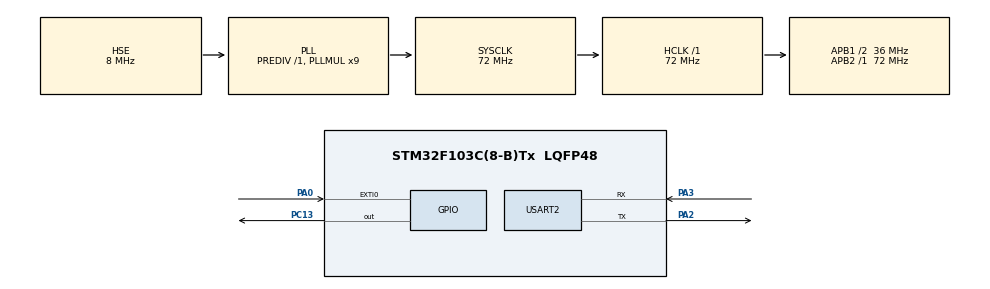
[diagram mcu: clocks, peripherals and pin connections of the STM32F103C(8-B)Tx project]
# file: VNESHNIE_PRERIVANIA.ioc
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Dma.Request0=USART2_TX
Dma.USART2_TX.0.Direction=DMA_MEMORY_TO_PERIPH
Dma.USART2_TX.0.Instance=DMA1_Channel7
Dma.USART2_TX.0.MemDataAlignment=DMA_MDATAALIGN_BYTE
Dma.USART2_TX.0.MemInc=DMA_MINC_ENABLE
Dma.USART2_TX.0.Mode=DMA_NORMAL
Dma.USART2_TX.0.PeriphDataAlignment=DMA_PDATAALIGN_BYTE
Dma.USART2_TX.0.PeriphInc=DMA_PINC_DISABLE
Dma.USART2_TX.0.Priority=DMA_PRIORITY_LOW
Mcu.Family=STM32F1
Mcu.Name=STM32F103C(8-B)Tx
Mcu.Package=LQFP48
NVIC.DMA1_Channel7_IRQn=true\:0\:0\:false\:false\:true\:false\:true\:true
NVIC.EXTI0_IRQn=true\:0\:0\:false\:false\:true\:true\:true\:true
NVIC.PriorityGroup=NVIC_PRIORITYGROUP_4
NVIC.USART2_IRQn=true\:0\:0\:false\:false\:true\:true\:true\:true
PA0-WKUP.GPIO_ModeDefaultEXTI=GPIO_MODE_IT_FALLING
PA0-WKUP.GPIO_PuPd=GPIO_PULLUP
PA0-WKUP.Signal=GPXTI0
PA13.Mode=Serial_Wire
PA13.Signal=SYS_JTMS-SWDIO
PA14.Mode=Serial_Wire
PA14.Signal=SYS_JTCK-SWCLK
PA2.Mode=Asynchronous
PA2.Signal=USART2_TX
PA3.Mode=Asynchronous
PA3.Signal=USART2_RX
PC13-TAMPER-RTC.Signal=GPIO_Output
PD0-OSC_IN.Mode=HSE-External-Oscillator
PD0-OSC_IN.Signal=RCC_OSC_IN
PD1-OSC_OUT.Mode=HSE-External-Oscillator
PD1-OSC_OUT.Signal=RCC_OSC_OUT
ProjectManager.HeapSize=0x200
ProjectManager.StackSize=0x400
ProjectManager.TargetToolchain=STM32CubeIDE
RCC.AHBFreq_Value=72000000
RCC.APB1CLKDivider=RCC_HCLK_DIV2
RCC.APB1Freq_Value=36000000
RCC.APB1TimFreq_Value=72000000
RCC.APB2Freq_Value=72000000
RCC.APB2TimFreq_Value=72000000
RCC.HCLKFreq_Value=72000000
RCC.PLLMUL=RCC_PLL_MUL9
RCC.PLLSourceVirtual=RCC_PLLSOURCE_HSE
RCC.SYSCLKFreq_VALUE=72000000
RCC.SYSCLKSource=RCC_SYSCLKSOURCE_PLLCLK
RCC.USBFreq_Value=72000000
USART2.VirtualMode=VM_ASYNC
board=custom

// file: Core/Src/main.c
/* USER CODE BEGIN Header */
/**
  ******************************************************************************
  * @file           : main.c
  * @brief          : Main program body
  ******************************************************************************
  * @attention
  *
  * Copyright (c) 2025 STMicroelectronics.
  * All rights reserved.
  *
  * This software is licensed under terms that can be found in the LICENSE file
  * in the root directory of this software component.
  * If no LICENSE file comes with this software, it is provided AS-IS.
  *
  ******************************************************************************
  */
/* USER CODE END Header */
#include "main.h"
#include "dma.h"
#include "usart.h"
#include "gpio.h"

/* USER CODE BEGIN Includes */

// ПРОВЕРКА ГИТХАБ
#include "stdio.h"
#include "string.h"
/* USER CODE END Includes */

/* USER CODE BEGIN PD */
#define Rx_BUFFER_SIZE 64
#define Tx_BUFFER_SIZE 64
/* USER CODE END PD */

/* USER CODE BEGIN PV */
uint8_t Rx_buffer [Rx_BUFFER_SIZE] = {0,};
uint8_t Tx_buffer [Tx_BUFFER_SIZE] = {0,};
volatile uint8_t flag_irq = 0;
volatile uint32_t time_irq = 0;
/* USER CODE END PV */

void SystemClock_Config(void);

int main(void)
{

  /* MCU Configuration--------------------------------------------------------*/

  /* Reset of all peripherals, Initializes the Flash interface and the Systick. */
  HAL_Init();

  /* Configure the system clock */
  SystemClock_Config();

  /* Initialize all configured peripherals */
  MX_GPIO_Init();
  MX_DMA_Init();
  MX_USART2_UART_Init();
  /* USER CODE BEGIN 2 */
snprintf((char*)Tx_buffer, Tx_BUFFER_SIZE,"ZUEV_SA\n");
  /* USER CODE END 2 */

  /* Infinite loop */
  /* USER CODE BEGIN WHILE */
  while (1)
  {
	  if(flag_irq && (HAL_GetTick() - time_irq) > 300){
	  	__HAL_GPIO_EXTI_CLEAR_IT(GPIO_PIN_0);
	  	NVIC_ClearPendingIRQ(EXTI0_IRQn);
	  	HAL_NVIC_EnableIRQ(EXTI0_IRQn);
	  	flag_irq = 0;
	  }
    /* USER CODE END WHILE */

  }
}

void SystemClock_Config(void)
{
  RCC_OscInitTypeDef RCC_OscInitStruct = {0};
  RCC_ClkInitTypeDef RCC_ClkInitStruct = {0};

  /** Initializes the RCC Oscillators according to the specified parameters
  * in the RCC_OscInitTypeDef structure.
  */
  RCC_OscInitStruct.OscillatorType = RCC_OSCILLATORTYPE_HSE;
  RCC_OscInitStruct.HSEState = RCC_HSE_ON;
  RCC_OscInitStruct.HSEPredivValue = RCC_HSE_PREDIV_DIV1;
  RCC_OscInitStruct.HSIState = RCC_HSI_ON;
  RCC_OscInitStruct.PLL.PLLState = RCC_PLL_ON;
  RCC_OscInitStruct.PLL.PLLSource = RCC_PLLSOURCE_HSE;
  RCC_OscInitStruct.PLL.PLLMUL = RCC_PLL_MUL9;
  if (HAL_RCC_OscConfig(&RCC_OscInitStruct) != HAL_OK)
  {
    Error_Handler();
  }

  /** Initializes the CPU, AHB and APB buses clocks
  */
  RCC_ClkInitStruct.ClockType = RCC_CLOCKTYPE_HCLK|RCC_CLOCKTYPE_SYSCLK
                              |RCC_CLOCKTYPE_PCLK1|RCC_CLOCKTYPE_PCLK2;
  RCC_ClkInitStruct.SYSCLKSource = RCC_SYSCLKSOURCE_PLLCLK;
  RCC_ClkInitStruct.AHBCLKDivider = RCC_SYSCLK_DIV1;
  RCC_ClkInitStruct.APB1CLKDivider = RCC_HCLK_DIV2;
  RCC_ClkInitStruct.APB2CLKDivider = RCC_HCLK_DIV1;

  if (HAL_RCC_ClockConfig(&RCC_ClkInitStruct, FLASH_LATENCY_2) != HAL_OK)
  {
    Error_Handler();
  }
}

/* USER CODE BEGIN 4 */

void HAL_GPIO_EXTI_Callback(uint16_t GPIO_Pin)
{
 if (GPIO_Pin == GPIO_PIN_0) {
	 HAL_NVIC_DisableIRQ(EXTI0_IRQn);
	 flag_irq = 1;
	 time_irq = HAL_GetTick();
	 //HAL_UART_Transmit(&huart2, (uint8_t*)Tx_buffer, strlen((char*)Tx_buffer), 100);
	 //HAL_UART_Transmit_IT(&huart2, (uint8_t*)Tx_buffer, strlen((char*)Tx_buffer));
	 HAL_UART_Transmit_DMA(&huart2, (uint8_t*)Tx_buffer, strlen((char*)Tx_buffer));
	 GPIOC->BSRR |= GPIO_BSRR_BS13;
	 //HAL_UART_Receive_IT(&huart2, (uint8_t*)Rx_buffer, 8);
	 HAL_UARTEx_ReceiveToIdle_IT(&huart2, (uint8_t*)Rx_buffer, Rx_BUFFER_SIZE);
 }
}

void HAL_UART_RxCpltCallback(UART_HandleTypeDef *huart)
{
 if(huart == &huart2)
 {
	 GPIOC->BSRR |= GPIO_BSRR_BR13;
	 //memcpy(Tx_buffer, Rx_buffer, Rx_BUFFER_SIZE);
 }
 }

void HAL_UARTEx_RxEventCallback(UART_HandleTypeDef *huart, uint16_t Size)
{
if(huart == &huart2)
{
	GPIOC->BSRR |= GPIO_BSRR_BR13;
	memset(Tx_buffer, 0, Tx_BUFFER_SIZE);
	Rx_buffer[63] = Size;
	memcpy(Tx_buffer, Rx_buffer, Size);
	}
}

/* USER CODE END 4 */

void Error_Handler(void)
{
  __disable_irq();
  while (1)
  {
  }
}
